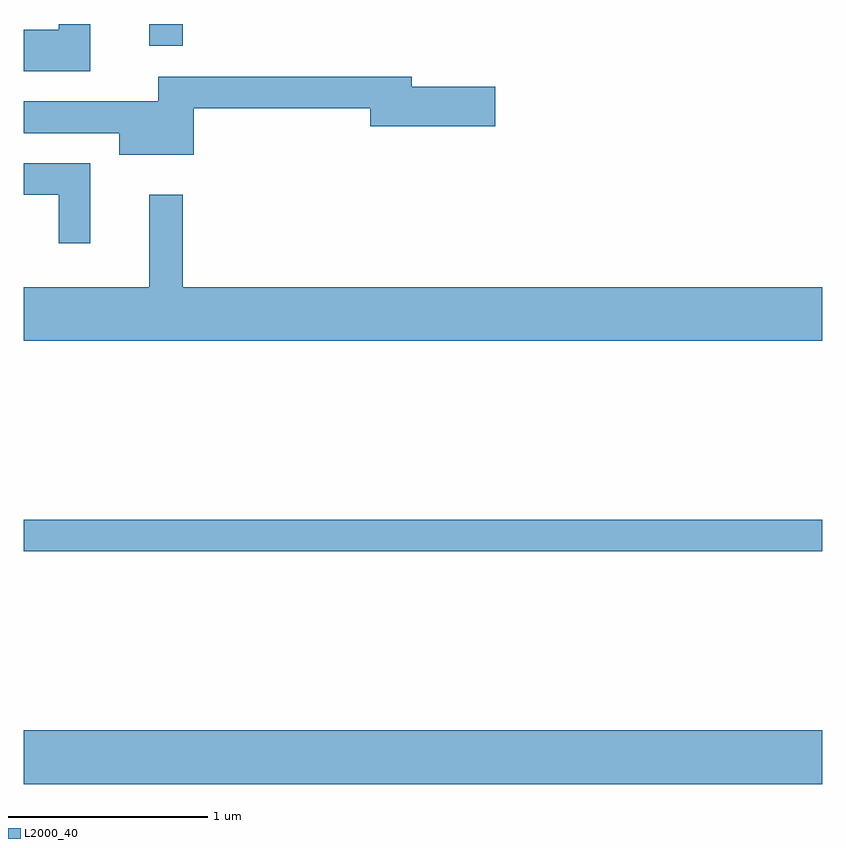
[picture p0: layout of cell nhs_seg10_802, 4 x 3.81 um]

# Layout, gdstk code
import gdstk
lib = gdstk.Library(unit=1e-6, precision=1e-09)
def R(c, l, rs):  # rectangles x0, y0, x1, y1
    for r in rs: c.add(gdstk.rectangle(r[:2], r[2:], *l))
def P(c, l, *ps):  # polygons
    for p in ps: c.add(gdstk.Polygon(p, *l))
L2000_40 = (2000, 40)

nhs_seg10_802 = lib.new_cell('nhs_seg10_802')
R(nhs_seg10_802, L2000_40, [(207.611,2202.716,211.611,2202.984), (207.611,2203.881,211.611,2204.039), (208.241,2206.413,208.409,2206.522)])
P(nhs_seg10_802, L2000_40, [(207.944,2206.522),(207.786,2206.522),(207.786,2206.494),(207.611,2206.494),(207.611,2206.286),(207.944,2206.286)],
  [(208.464,2206.101),(209.346,2206.101),(209.346,2206.011),(209.974,2206.011),(209.974,2206.209),(209.554,2206.209),(209.554,2206.259),(208.286,2206.259),(208.286,2206.134),(207.611,2206.134),(207.611,2205.976),(208.091,2205.976),(208.091,2205.866),(208.464,2205.866)],
  [(207.944,2205.824),(207.611,2205.824),(207.611,2205.666),(207.786,2205.666),(207.786,2205.423),(207.944,2205.423)],
  [(211.611,2205.204),(208.409,2205.204),(208.409,2205.668),(208.241,2205.668),(208.241,2205.204),(207.611,2205.204),(207.611,2204.936),(211.611,2204.936)])

lib.write_gds('nhs_seg10_802.gds')
